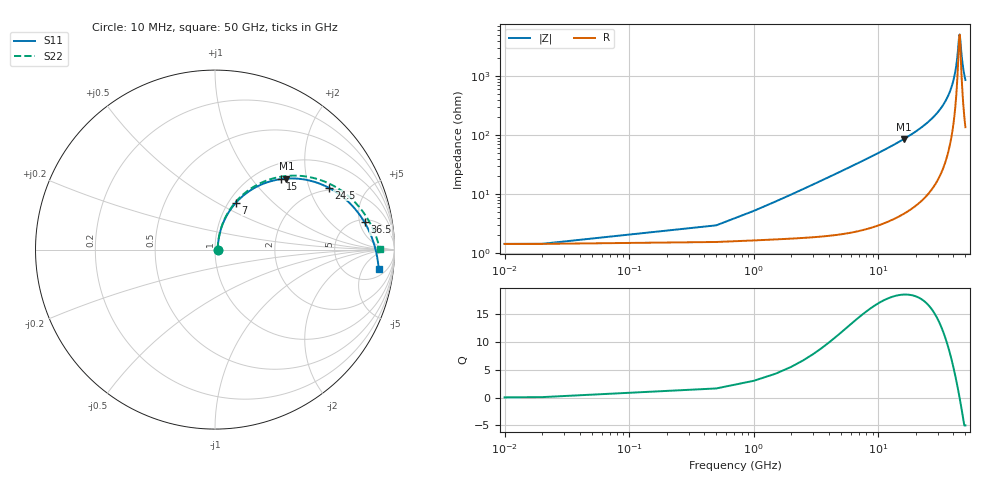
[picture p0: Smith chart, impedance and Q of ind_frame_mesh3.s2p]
! Created with skrf 2.2.0 (http://scikit-rf.org).
# GHz S DB R 50.0
! Port[1] = P1
! Port[2] = P2
!freq dBS11 angS11 dBS21 angS21 dBS12 angS12 dBS22 angS22
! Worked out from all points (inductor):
!   102 points, 10 MHz to 50 GHz, reference 50 ohm
!   read as 1/Y11, port 2 shorted: L = 777 pH near 1 GHz
!   highest Q = 18.5 at 16 GHz (marker M1), where L = 853 pH
!   self-resonance near 44.5 GHz
!   S11 on the Smith chart (normalised r, x): 10 MHz: 1.03, +0.00; 7 GHz: 1.08, +0.62; 15 GHz: 1.28, +1.41; 24.5 GHz: 1.89, +2.72; 36.5 GHz: 5.55, +5.96; 50 GHz: 8, -11
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0.01  -36.98 2.0  -0.12 -0.0  -0.12 -0.0  -36.98 2.0
0.5  -31.38 54.4  -0.14 -1.6  -0.14 -1.6  -31.37 54.4
1  -26.68 67.1  -0.15 -3.1  -0.15 -3.1  -26.67 67.2
1.5  -23.52 71.6  -0.17 -4.5  -0.17 -4.5  -23.52 71.7
2  -21.18 73.3  -0.19 -6.0  -0.19 -6.0  -21.18 73.5
3  -17.80 73.7  -0.25 -8.9  -0.25 -8.9  -17.80 74.0
4  -15.39 72.4  -0.31 -11.7  -0.31 -11.7  -15.40 72.9
5.5  -12.77 69.4  -0.43 -15.9  -0.43 -15.9  -12.78 70.0
7  -10.84 65.9  -0.59 -20.0  -0.59 -20.0  -10.85 66.7
8.5  -9.34 62.2  -0.77 -24.0  -0.77 -24.0  -9.35 63.2
11.5  -7.14 55.0  -1.20 -31.4  -1.20 -31.4  -7.15 56.4
15  -5.41 47.0  -1.79 -39.4  -1.79 -39.4  -5.42 48.9
16  -5.02 44.9  -1.97 -41.6  -1.97 -41.6  -5.03 46.8
17  -4.67 42.8  -2.16 -43.7  -2.16 -43.7  -4.68 44.9
20.5  -3.67 35.8  -2.83 -50.5  -2.83 -50.5  -3.68 38.4
24.5  -2.85 28.6  -3.64 -57.6  -3.64 -57.6  -2.86 31.7
25.5  -2.68 26.9  -3.84 -59.3  -3.84 -59.3  -2.69 30.1
29.5  -2.12 20.5  -4.67 -65.6  -4.67 -65.6  -2.13 24.3
33.5  -1.69 14.5  -5.51 -71.3  -5.51 -71.3  -1.71 18.9
36.5  -1.44 10.3  -6.14 -75.4  -6.14 -75.4  -1.45 15.2
42  -1.09 3.1  -7.33 -82.3  -7.33 -82.3  -1.10 8.8
50  -0.74 -6.8  -9.13 -91.5  -9.13 -91.5  -0.75 0.3
